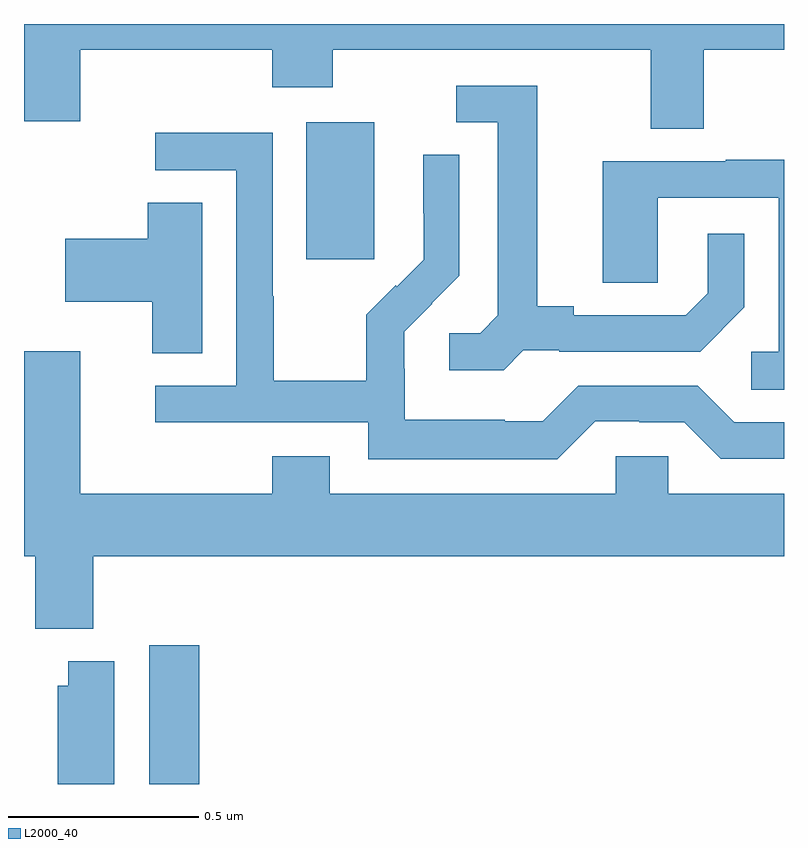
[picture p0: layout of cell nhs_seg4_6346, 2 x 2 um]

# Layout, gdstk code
import gdstk
lib = gdstk.Library(unit=1e-6, precision=1e-09)
def R(c, l, rs):  # rectangles x0, y0, x1, y1
    for r in rs: c.add(gdstk.rectangle(r[:2], r[2:], *l))
def P(c, l, *ps):  # polygons
    for p in ps: c.add(gdstk.Polygon(p, *l))
L2000_40 = (2000, 40)

nhs_seg4_6346 = lib.new_cell('nhs_seg4_6346')
R(nhs_seg4_6346, L2000_40, [(189.329,782.9,189.461,783.265), (189.743,784.281,189.922,784.642)])
P(nhs_seg4_6346, L2000_40, [(190.789,784.832),(191,784.832),(191,784.9),(189,784.9),(189,784.644),(189.148,784.644),(189.148,784.832),(189.653,784.832),(189.653,784.733),(189.813,784.733),(189.813,784.832),(190.649,784.832),(190.649,784.624),(190.789,784.624)],
  [(190.314,784.041),(190.408,784.041),(190.408,784.038),(190.78,784.038),(190.896,784.154),(190.896,784.348),(190.799,784.348),(190.799,784.191),(190.742,784.134),(190.447,784.134),(190.447,784.157),(190.351,784.157),(190.351,784.737),(190.137,784.737),(190.137,784.641),(190.247,784.641),(190.247,784.133),(190.2,784.086),(190.119,784.086),(190.119,783.989),(190.262,783.989)],
  [(190.503,783.855),(190.619,783.855),(190.619,783.852),(190.737,783.852),(190.833,783.756),(191,783.756),(191,783.852),(190.869,783.852),(190.773,783.948),(190.458,783.948),(190.365,783.855),(190.265,783.855),(190.265,783.859),(190.002,783.859),(190.002,783.993),(190,783.993),(190,784.09),(190.074,784.164),(190.073,784.165),(190.146,784.238),(190.146,784.556),(190.05,784.556),(190.05,784.402),(190.052,784.402),(190.052,784.28),(189.981,784.209),(189.978,784.212),(189.901,784.135),(189.901,783.961),(189.657,783.961),(189.657,784.184),(189.654,784.184),(189.654,784.614),(189.345,784.614),(189.345,784.515),(189.558,784.515),(189.558,783.948),(189.345,783.948),(189.345,783.852),(189.906,783.852),(189.906,783.755),(190.403,783.755)],
  [(191,784.543),(190.847,784.543),(190.847,784.539),(190.523,784.539),(190.523,784.219),(190.668,784.219),(190.668,784.443),(190.986,784.443),(190.986,784.038),(190.914,784.038),(190.914,783.937),(191,783.937)],
  [(189.469,784.43),(189.326,784.43),(189.326,784.335),(189.108,784.335),(189.108,784.169),(189.338,784.169),(189.338,784.033),(189.469,784.033)],
  [(189.182,783.5),(191,783.5),(191,783.664),(190.695,783.664),(190.695,783.762),(190.557,783.762),(190.557,783.664),(189.805,783.664),(189.805,783.763),(189.653,783.763),(189.653,783.664),(189.148,783.664),(189.148,784.039),(189,784.039),(189,783.5),(189.029,783.5),(189.029,783.308),(189.182,783.308)],
  [(189.238,783.223),(189.116,783.223),(189.116,783.159),(189.089,783.159),(189.089,782.9),(189.238,782.9)])

lib.write_gds('nhs_seg4_6346.gds')
